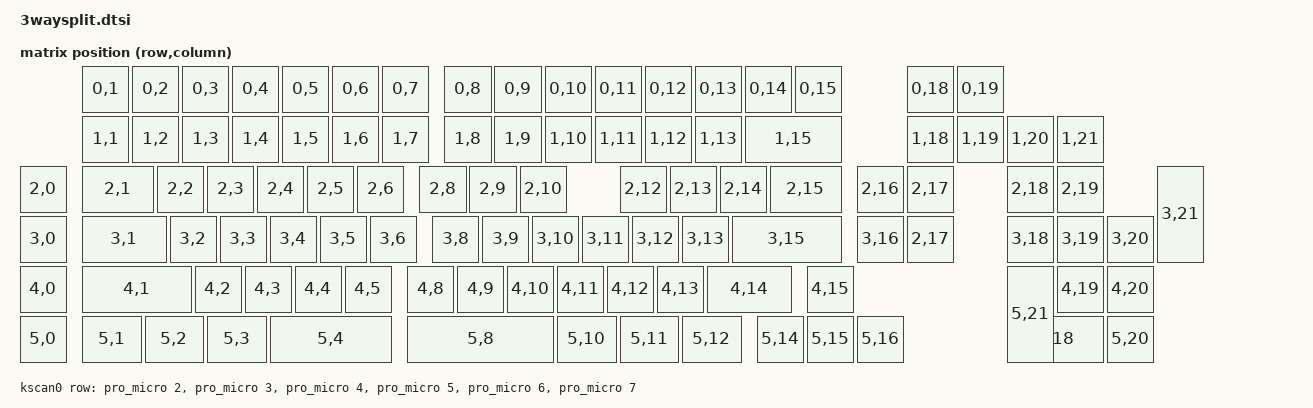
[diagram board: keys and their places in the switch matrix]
#include <dt-bindings/zmk/matrix_transform.h>
#include <physical_layouts.dtsi>
/ {
    chosen {
        zmk,physical-layout = &physical_layout0;
    };

    kscan0: kscan0 {
        compatible = "zmk,kscan-gpio-matrix";
        diode-direction = "col2row";
        wakeup-source;

        row-gpios
            = <&pro_micro 2 (GPIO_ACTIVE_HIGH | GPIO_PULL_DOWN)>
            , <&pro_micro 3 (GPIO_ACTIVE_HIGH | GPIO_PULL_DOWN)>
            , <&pro_micro 4 (GPIO_ACTIVE_HIGH | GPIO_PULL_DOWN)>
            , <&pro_micro 5 (GPIO_ACTIVE_HIGH | GPIO_PULL_DOWN)>
            , <&pro_micro 6 (GPIO_ACTIVE_HIGH | GPIO_PULL_DOWN)>
            , <&pro_micro 7 (GPIO_ACTIVE_HIGH | GPIO_PULL_DOWN)>
            ;

    };

    default_transform: matrix_transform {
        compatible = "zmk,matrix-transform";
        rows = <6>;
        columns = <22>;
        map = <
                    RC(0,1) RC(0,2) RC(0,3) RC(0,4) RC(0,5) RC(0,6) RC(0,7)   RC(0,8) RC(0,9) RC(0,10) RC(0,11) RC(0,12) RC(0,13) RC(0,14) RC(0,15)                     RC(0,18) RC(0,19)
                    RC(1,1) RC(1,2) RC(1,3) RC(1,4) RC(1,5) RC(1,6) RC(1,7)   RC(1,8) RC(1,9) RC(1,10) RC(1,11) RC(1,12) RC(1,13)      RC(1,15)                         RC(1,18) RC(1,19) RC(1,20) RC(1,21)
            RC(2,0) RC(2,1)     RC(2,2) RC(2,3) RC(2,4) RC(2,5) RC(2,6)   RC(2,8) RC(2,9) RC(2,10) RC(2,11) RC(2,12) RC(2,13) RC(2,14)   RC(2,15)    RC(2,16) RC(2,17)  RC(2,18) RC(2,19) RC(2,20)
            RC(3,0) RC(3,1)       RC(3,2) RC(3,3) RC(3,4) RC(3,5) RC(3,6)   RC(3,8) RC(3,9) RC(3,10) RC(3,11) RC(3,12) RC(3,13)       RC(3,15)       RC(3,16) RC(2,17)  RC(3,18) RC(3,19) RC(3,20) RC(3,21)
            RC(4,0) RC(4,1)           RC(4,2) RC(4,3) RC(4,4) RC(4,5)   RC(4,8) RC(4,9) RC(4,10) RC(4,11) RC(4,12) RC(4,13)     RC(4,14)    RC(4,15)                    RC(4,18) RC(4,19) RC(4,20) 
            RC(5,0)   RC(5,1)   RC(5,2)   RC(5,3)        RC(5,4)                RC(5,8)          RC(5,10)   RC(5,11)    RC(5,12)   RC(5,14) RC(5,15) RC(5,16)           RC(5,18)          RC(5,20) RC(5,21)
        >;
    };

    physical_layout0: physical_layout_ { // First physical layout, use different naming for other layouts
        compatible = "zmk,physical-layout";
        display-name = "Default Layout";
        kscan = <&kscan>; // Label of the kscan node, optional if all layouts use the same
        transform = <&default_transform>; // Label of the matrix transform for this layout
        keys  //                     w   h    x    y     rot    rx    ry
            = <&key_physical_attrs 100 100  125    0       0     0     0>
            , <&key_physical_attrs 100 100  225    0       0     0     0>
            , <&key_physical_attrs 100 100  325    0       0     0     0>
            , <&key_physical_attrs 100 100  425    0       0     0     0>
            , <&key_physical_attrs 100 100  525    0       0     0     0>
            , <&key_physical_attrs 100 100  625    0       0     0     0>
            , <&key_physical_attrs 100 100  725    0       0     0     0>
            , <&key_physical_attrs 100 100  850    0       0     0     0>
            , <&key_physical_attrs 100 100  950    0       0     0     0>
            , <&key_physical_attrs 100 100 1050    0       0     0     0>
            , <&key_physical_attrs 100 100 1150    0       0     0     0>
            , <&key_physical_attrs 100 100 1250    0       0     0     0>
            , <&key_physical_attrs 100 100 1350    0       0     0     0>
            , <&key_physical_attrs 100 100 1450    0       0     0     0>
            , <&key_physical_attrs 100 100 1550    0       0     0     0>
            , <&key_physical_attrs 100 100 1775    0       0     0     0>
            , <&key_physical_attrs 100 100 1875    0       0     0     0>
            , <&key_physical_attrs 100 100  125  100       0     0     0>
            , <&key_physical_attrs 100 100  225  100       0     0     0>
            , <&key_physical_attrs 100 100  325  100       0     0     0>
            , <&key_physical_attrs 100 100  425  100       0     0     0>
            , <&key_physical_attrs 100 100  525  100       0     0     0>
            , <&key_physical_attrs 100 100  625  100       0     0     0>
            , <&key_physical_attrs 100 100  725  100       0     0     0>
            , <&key_physical_attrs 100 100  850  100       0     0     0>
            , <&key_physical_attrs 100 100  950  100       0     0     0>
            , <&key_physical_attrs 100 100 1050  100       0     0     0>
            , <&key_physical_attrs 100 100 1150  100       0     0     0>
            , <&key_physical_attrs 100 100 1250  100       0     0     0>
            , <&key_physical_attrs 100 100 1350  100       0     0     0>
            , <&key_physical_attrs 200 100 1450  100       0     0     0>
            , <&key_physical_attrs 100 100 1775  100       0     0     0>
            , <&key_physical_attrs 100 100 1875  100       0     0     0>
            , <&key_physical_attrs 100 100 1975  100       0     0     0>
            , <&key_physical_attrs 100 100 2075  100       0     0     0>
            , <&key_physical_attrs 100 100    0  200       0     0     0>
            , <&key_physical_attrs 150 100  125  200       0     0     0>
            , <&key_physical_attrs 100 100  275  200       0     0     0>
            , <&key_physical_attrs 100 100  375  200       0     0     0>
            , <&key_physical_attrs 100 100  475  200       0     0     0>
            , <&key_physical_attrs 100 100  575  200       0     0     0>
            , <&key_physical_attrs 100 100  675  200       0     0     0>
            , <&key_physical_attrs 100 100  800  200       0     0     0>
            , <&key_physical_attrs 100 100  900  200       0     0     0>
            , <&key_physical_attrs 100 100 1000  200       0     0     0>
            , <&key_physical_attrs 100 100 1200  200       0     0     0>
            , <&key_physical_attrs 100 100 1200  200       0     0     0>
            , <&key_physical_attrs 100 100 1300  200       0     0     0>
            , <&key_physical_attrs 100 100 1400  200       0     0     0>
            , <&key_physical_attrs 150 100 1500  200       0     0     0>
            , <&key_physical_attrs 100 100 1675  200       0     0     0>
            , <&key_physical_attrs 100 100 1775  200       0     0     0>
            , <&key_physical_attrs 100 100 1975  200       0     0     0>
            , <&key_physical_attrs 100 100 2075  200       0     0     0>
            , <&key_physical_attrs 100 100 2275  200       0     0     0>
            , <&key_physical_attrs 100 100    0  300       0     0     0>
            , <&key_physical_attrs 175 100  125  300       0     0     0>
            , <&key_physical_attrs 100 100  300  300       0     0     0>
            , <&key_physical_attrs 100 100  400  300       0     0     0>
            , <&key_physical_attrs 100 100  500  300       0     0     0>
            , <&key_physical_attrs 100 100  600  300       0     0     0>
            , <&key_physical_attrs 100 100  700  300       0     0     0>
            , <&key_physical_attrs 100 100  825  300       0     0     0>
            , <&key_physical_attrs 100 100  925  300       0     0     0>
            , <&key_physical_attrs 100 100 1025  300       0     0     0>
            , <&key_physical_attrs 100 100 1125  300       0     0     0>
            , <&key_physical_attrs 100 100 1225  300       0     0     0>
            , <&key_physical_attrs 100 100 1325  300       0     0     0>
            , <&key_physical_attrs 225 100 1425  300       0     0     0>
            , <&key_physical_attrs 100 100 1675  300       0     0     0>
            , <&key_physical_attrs 100 100 1775  300       0     0     0>
            , <&key_physical_attrs 100 100 1975  300       0     0     0>
            , <&key_physical_attrs 100 100 2075  300       0     0     0>
            , <&key_physical_attrs 100 100 2175  300       0     0     0>
            , <&key_physical_attrs 100 200 2275  200       0     0     0>
            , <&key_physical_attrs 100 100    0  400       0     0     0>
            , <&key_physical_attrs 225 100  125  400       0     0     0>
            , <&key_physical_attrs 100 100  350  400       0     0     0>
            , <&key_physical_attrs 100 100  450  400       0     0     0>
            , <&key_physical_attrs 100 100  550  400       0     0     0>
            , <&key_physical_attrs 100 100  650  400       0     0     0>
            , <&key_physical_attrs 100 100  775  400       0     0     0>
            , <&key_physical_attrs 100 100  875  400       0     0     0>
            , <&key_physical_attrs 100 100  975  400       0     0     0>
            , <&key_physical_attrs 100 100 1075  400       0     0     0>
            , <&key_physical_attrs 100 100 1175  400       0     0     0>
            , <&key_physical_attrs 100 100 1275  400       0     0     0>
            , <&key_physical_attrs 175 100 1375  400       0     0     0>
            , <&key_physical_attrs 100 100 1575  400       0     0     0>
            , <&key_physical_attrs 100 100 1975  400       0     0     0>
            , <&key_physical_attrs 100 100 2075  400       0     0     0>
            , <&key_physical_attrs 100 100 2175  400       0     0     0>
            , <&key_physical_attrs 100 100    0  500       0     0     0>
            , <&key_physical_attrs 125 100  125  500       0     0     0>
            , <&key_physical_attrs 125 100  250  500       0     0     0>
            , <&key_physical_attrs 125 100  375  500       0     0     0>
            , <&key_physical_attrs 250 100  500  500       0     0     0>
            , <&key_physical_attrs 300 100  775  500       0     0     0>
            , <&key_physical_attrs 125 100 1075  500       0     0     0>
            , <&key_physical_attrs 125 100 1200  500       0     0     0>
            , <&key_physical_attrs 125 100 1325  500       0     0     0>
            , <&key_physical_attrs 100 100 1475  500       0     0     0>
            , <&key_physical_attrs 100 100 1575  500       0     0     0>
            , <&key_physical_attrs 100 100 1675  500       0     0     0>
            , <&key_physical_attrs 200 100 1975  500       0     0     0>
            , <&key_physical_attrs 100 100 2175  500       0     0     0>
            , <&key_physical_attrs 100 200 1975  400       0     0     0>
            ;
    };

    keypad_position_map {
        // Other properties

        3waysplit_map: threewaysplit {
            physical-layout = <&physical_layout0>;
            positions
                = <     0  1  2  3  4  5  6  7  8  9 10 11 12 13 14          15 16      >
                , <    17 18 19 20 21 22 23 24 25 26 27 28 29 30             31 32 33 34>
                , < 35 36 37 38 39 40 41 42 43 44 45 46 47 48 49    50 51    52 53 54   >
                , < 55 56    57 58 59 60 61 62 63 64 65 66 67 68    69 70    71 72 73 74>
                , < 75 76    77 78 79 80 81 82 83 84 85 86 87    88          89 90 91   >
                , < 92 93 94 95    96    97       98 99100   101102103       104105   106>;
        };
    };

};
